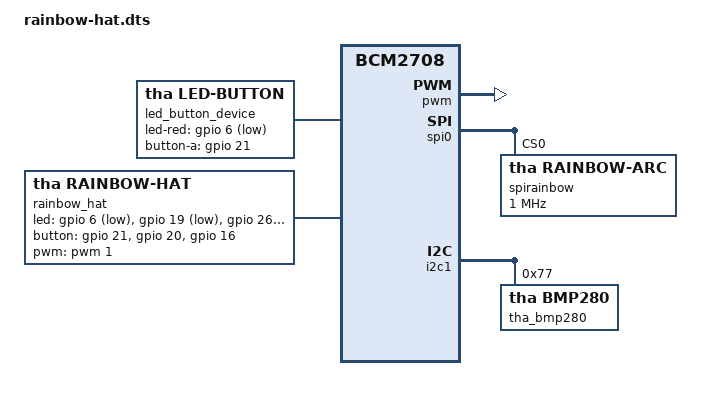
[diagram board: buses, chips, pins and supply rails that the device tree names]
/*
 * Device Tree Overlay for Pimoroni's great Rainbow HAT
 *
 * This is one of my very first device tree overlays and it comes without any warranty.
 *
 * Claudia Meitinger, claudia.meitinger@tha.de
 */

/dts-v1/;
/plugin/;
/ {
	compatible = "brcm,bcm2708";

	/* identification */
	part-number = "PIMORONI_RAINBOW-HAT";

	fragment@0 {
		target-path = "/";
		__overlay__ {
			led_button_device {
				compatible = "tha,led-button";
				status = "okay";
				led-red-gpio = <&gpio 6 1>;
				button-a-gpio = <&gpio 21 0>;
			};
		};
	};

	fragment@1 {
		target = <&gpio>;
		__overlay__ {
			pwm_pins: pwm_pins {
				brcm,pins = <18 13>;
				brcm,function = <2 4>;
			};
		};
	};

	fragment@2 {
		target = <&pwm>;
		__overlay__ {
			pinctrl-names = "default";
			pinctrl-0 = <&pwm_pins>;
			assigned-clock-rates = <100000000>;
			status = "okay";
		};
	};

	fragment@3 {
		target-path = "/";
		__overlay__ {
			rainbow_hat {
				compatible = "tha,rainbow-hat";
				status = "okay";

				/* LEDs */
				led-gpios = <&gpio  6 1>, /* red */
					    <&gpio 19 1>, /* green */
					    <&gpio 26 1>; /* blue */
				/* Buttons */
				button-gpios = <&gpio 21 0>, /* A */
					       <&gpio 20 0>, /* B */
					       <&gpio 16 0>; /* C */

				pwms = <&pwm 1 100000000>;
			};
		};
	};

	fragment@4 {
		target = <&spi0>;
		__overlay__ {
			status = "okay";
		};
	};

	fragment@5 {
		target = <&spidev0>;
		__overlay__ {
			status = "disabled";
		};
	};

	fragment@6 {
		target = <&spi0>;
		__overlay__ {
			/* needed to avoid dtc warning */
			#address-cells = <1>;
			#size-cells = <0>;
			spirainbow: spirainbow@0 {
				compatible = "tha,rainbow-arc";
				reg = <0>;	/* CE1 */
				#address-cells = <0>;
				#size-cells = <0>;
				spi-max-frequency = <1000000>;
				status = "okay";
			};
		};
	};


	fragment@7 {
		target = <&i2c1>;
		__overlay__ {
			status = "okay";
			pinctrl-names = "default";
			pinctrl-0 = <&i2c1_pins>;
		};
	};

	fragment@8 {
		target = <&i2c1_pins>;
		pins1: __overlay__ {
			brcm,pins = <2 3>;
			brcm,function = <4>; /* alt 0 */
		};
	};

	fragment@9 {
		target = <&i2c1_pins>;
		pins2: __dormant__ {
			brcm,pins = <44 45>;
			brcm,function = <6>; /* alt 2 */
		};
	};

	fragment@10 {
		target = <&i2c1>;
		__dormant__ {
			compatible = "brcm,bcm2708-i2c";
		};
	};

	fragment@11 {
		target = <&i2c1>;

		__overlay__ {
			#address-cells = <1>;
			#size-cells = <0>;

			tha_bmp280: tha_bmp280@77 {
				compatible = "tha,bmp280";
				reg = <0x77>;
				status = "okay";
			};
		};
	};
};

